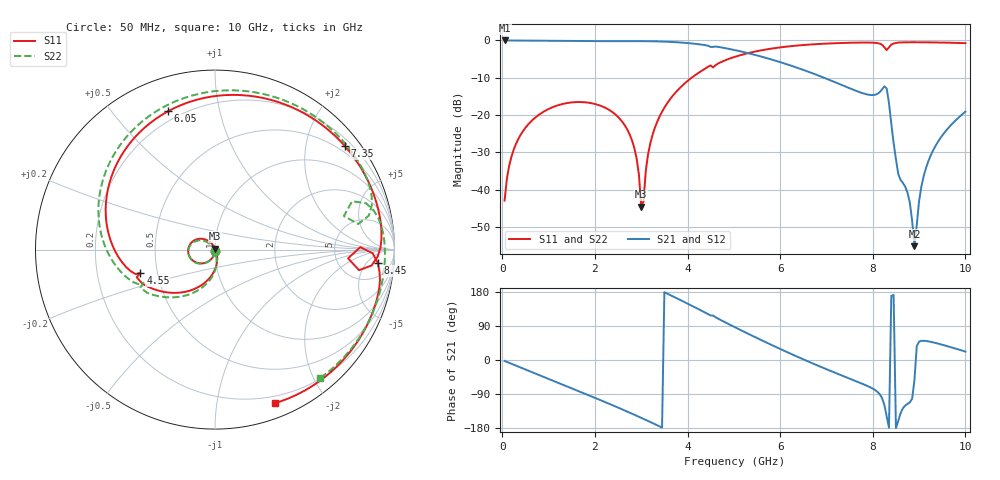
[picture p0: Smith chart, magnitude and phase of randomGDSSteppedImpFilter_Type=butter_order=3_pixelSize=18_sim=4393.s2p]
! freq	dB(S11)	phase(S11)	dB(S12)	phase(S12)
!  dB(S21)	phase(S21)	dB(S22)	phase(S22)
!S-par simulation data
#  GHz  S  DB  R 50
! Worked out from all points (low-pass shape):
!   200 points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, 50 MHz to 10 GHz, reference 50 ohm
!   highest |S21| = -0.01 dB at 50 MHz (marker M1); lowest = -55.1 dB at 8.9 GHz (marker M2)
!   |S21| within 3 dB of the highest: start of sweep to 5.173 GHz
!   lowest |S11| = -44.5 dB at 3 GHz (marker M3), VSWR 1.01, Z = 50.1 + j0.583 ohm
!   |S11| at or under -10 dB: start of sweep to 4.087 GHz
!   |S22| runs from -44.0 to -0.5 dB; largest |S21 - S12| = 0
!   S11 on the Smith chart (normalised r, x): 50 MHz: 1.00, -0.01; 4.55 GHz: 0.40, -0.13; 6.05 GHz: 0.15, +0.71; 7.35 GHz: 0.35, +2.81; 8.45 GHz: 12, -10; 10 GHz: 0.13, -1.46
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0.05  -42.88 -91.1  -0.01 -2.6  -0.01 -2.6  -42.88 -91.0
0.2  -31.01 -100.1  -0.02 -10.1  -0.02 -10.1  -31.01 -99.8
0.5  -23.38 -116.0  -0.05 -25.1  -0.05 -25.1  -23.38 -115.2
1.75  -16.52 -179.8  -0.20 -87.2  -0.20 -87.2  -16.53 -176.6
2.7  -23.88 128.6  -0.18 -136.2  -0.18 -136.2  -23.92 137.6
2.9  -31.55 113.8  -0.18 -147.1  -0.18 -147.1  -31.63 132.1
3  -44.49 77.2  -0.19 -152.6  -0.19 -152.6  -44.01 164.2
3.15  -30.33 -68.7  -0.21 -161.0  -0.21 -161.0  -30.17 -77.4
3.4  -20.28 -87.1  -0.28 -175.3  -0.28 -175.3  -20.22 -86.4
4.55  -7.22 -162.4  -1.74 117.3  -1.74 117.3  -7.14 -155.1
5.05  -4.28 168.9  -2.66 84.8  -2.66 84.8  -4.27 178.5
6.05  -1.78 108.6  -6.00 26.4  -6.00 26.4  -1.78 122.2
6.7  -1.05 72.4  -8.80 -8.9  -8.80 -8.9  -1.05 88.1
7.35  -0.67 38.6  -12.03 -41.8  -12.03 -41.8  -0.67 55.9
8.25  -1.82 -8.1  -12.29 -118.4  -12.29 -118.4  -1.82 10.1
8.35  -1.83 1.0  -16.79 -178.8  -16.79 -178.8  -1.83 19.4
8.45  -0.82 -4.7  -27.46 171.6  -27.46 171.6  -0.80 13.8
8.8  -0.49 -22.3  -43.46 -111.9  -43.46 -111.9  -0.46 -3.8
8.9  -0.48 -26.5  -55.08 -52.9  -55.08 -52.9  -0.46 -8.1
9.05  -0.49 -32.7  -39.08 50.6  -39.08 50.6  -0.46 -14.2
9.2  -0.51 -38.6  -32.35 49.2  -32.35 49.2  -0.47 -20.2
10  -0.74 -68.7  -19.07 22.3  -19.07 22.3  -0.68 -50.6
